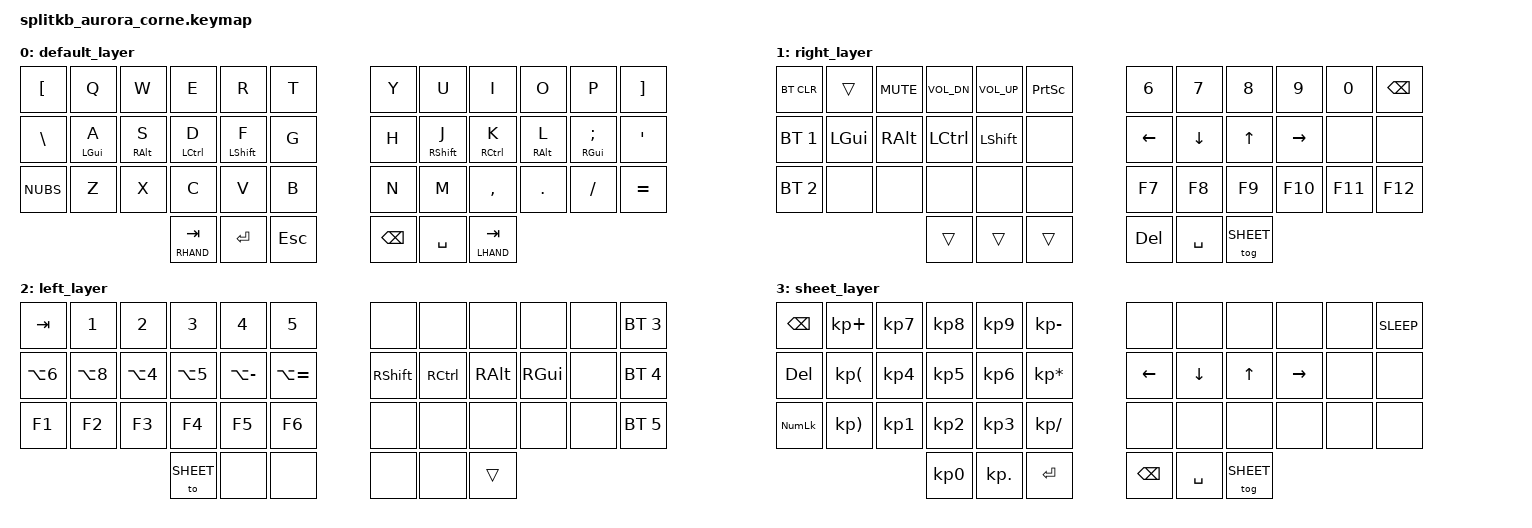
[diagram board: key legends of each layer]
#include <behaviors.dtsi>
#include <dt-bindings/zmk/bt.h>
#include <dt-bindings/zmk/keys.h>
#include "../zmk-nodefree-config/helper.h"

#define DEF 0
#define RHAND   1
#define LHAND    2
#define SHEET   3

// homerow mods
ZMK_BEHAVIOR(hm, hold_tap,
    flavor = "balanced";
    tapping-term-ms = <200>;
    quick-tap-ms = <125>;
    bindings = <&kp>, <&kp>;
)
#include "combos.dtsi"

ZMK_LAYER(default_layer,
            // -----------------------------------------------------------------------------------------
            // | [ |  Q  |  W  |  E  |  R  |  T  |   |  Y  |  U   |  I  |  O  |  P  | ] |
            // | \ |  A  |  S  |  D  |  F  |  G  |   |  H  |  J   |  K  |  L  |  ;  |  '   |
            // | < |  Z  |  X  |  C  |  V  |  B  |   |  N  |  M   |  ,  |  .  |  /  | =  |
            //                 | TAB | RET | ESC |   | BKSP | SP  | TAB |

&kp LBKT  &kp Q       &kp W       &kp E           &kp R        &kp T      &kp Y     &kp U        &kp I          &kp O       &kp P          &kp RBKT
&kp BSLH  &hm LGUI A  &hm RALT S  &hm LCTRL D     &hm LSHFT F  &kp G      &kp H     &hm RSHFT J  &hm RCTRL K    &hm RALT L  &hm RGUI SEMI  &kp SQT
&kp NUBS   &kp Z       &kp X       &kp C           &kp V        &kp B      &kp N     &kp M        &kp COMMA      &kp DOT     &kp FSLH       &kp EQUAL
                                  &lt RHAND TAB  &kp RET      &kp ESC    &kp BSPC  &kp SPACE    &lt LHAND TAB
        )

ZMK_LAYER(right_layer,
            // -----------------------------------------------------------------------------------------
            // | BTCLR |     |  mute | vold | volu | printS  |    |  6    |  7  |  8  |  9   |  0   | -    |
            // | BT1  | LGUI | RALT | LCTRL | LSHFT |        |    |  LFT  | DWN |  UP | RGT  |      |      |
            // | BT2  |     |     |     |     |     |        |    |  F7   | F8  |  F9 | F10  |  F11 | F12  |
            //                             |     |     |     |    | DEL | SPACE | tog SHEET |
&bt BT_CLR    &trans    &kp C_MUTE  &kp C_VOL_DN  &kp C_VOL_UP  &kp PSCRN    &kp N6    &kp N7     &kp N8       &kp N9     &kp N0   &kp BSPC
&bt BT_SEL 1  &kp LGUI  &kp RALT    &kp LCTRL     &kp LSHFT     &none        &kp LEFT  &kp DOWN   &kp UP       &kp RIGHT  &none    &none
&bt BT_SEL 2  &none     &none       &none         &none         &none        &kp F7    &kp F8     &kp F9       &kp F10    &kp F11  &kp F12
                                    &trans        &trans        &trans       &kp DEL   &kp SPACE  &tog SHEET
            )

ZMK_LAYER(left_layer,
            // -----------------------------------------------------------------------------------------
            // |  GRAVE |  1  |  2  |  3  |  4  |  5  |     |    |         |         |        |        | BT3  |
            // |        | \   | {   | [   | ]   | }   |     |    | RSHFT   |  RCTRL  | RALT   |  RGUI  | BT4  |
            // |  F1    |  F2 | F3  |  F4 | F5  | F6  |     |    |         |         |        |        | BT5  |
            //                      | tog SHEET  |     |     |    |         |         |        |

&kp TAB     &kp N1      &kp N2      &kp N3      &kp N4         &kp N5           &none      &none      &none     &none     &none  &bt BT_SEL 3
&kp LA(N6)  &kp LA(N8)  &kp LA(N4)  &kp LA(N5)  &kp LA(MINUS)  &kp LA(EQUAL)    &kp RSHFT  &kp RCTRL  &kp RALT  &kp RGUI  &none  &bt BT_SEL 4
&kp F1      &kp F2      &kp F3      &kp F4      &kp F5         &kp F6           &none      &none      &none     &none     &none  &bt BT_SEL 5
                                    &to SHEET  &none          &none            &none      &none      &trans
            )

ZMK_LAYER(sheet_layer,
            // -----------------------------------------------------------------------------------------
            // | BSPC  |  + |  7  |  8  |  9  |  -  |   |     |     |     |     |     |      |
            // |  DEL  |  ( |  4  |  5  |  6  |  *  |   | LFT | DWN |  UP | RGT |     |      |
            // | NLoc  |  ) |  1  |  2  |  3  |  /  |   |     |     |     |     |     |      |
            //                    |  0  |  .  | ENT |   | BSPC | SPACE | Tog SHEET |

&kp BSPC    &kp KP_PLUS  &kp KP_N7  &kp KP_N8  &kp KP_N9   &kp KP_MINUS       &none     &none      &none        &none      &none  &kp C_SLEEP
&kp DEL     &kp KP_LPAR  &kp KP_N4  &kp KP_N5  &kp KP_N6   &kp KP_MULTIPLY    &kp LEFT  &kp DOWN   &kp UP       &kp RIGHT  &none  &none
&kp KP_NUM  &kp KP_RPAR  &kp KP_N1  &kp KP_N2  &kp KP_N3   &kp KP_DIVIDE      &none     &none      &none        &none      &none  &none
                                    &kp KP_N0  &kp KP_DOT  &kp RET            &kp BSPC  &kp SPACE  &tog SHEET
            )
